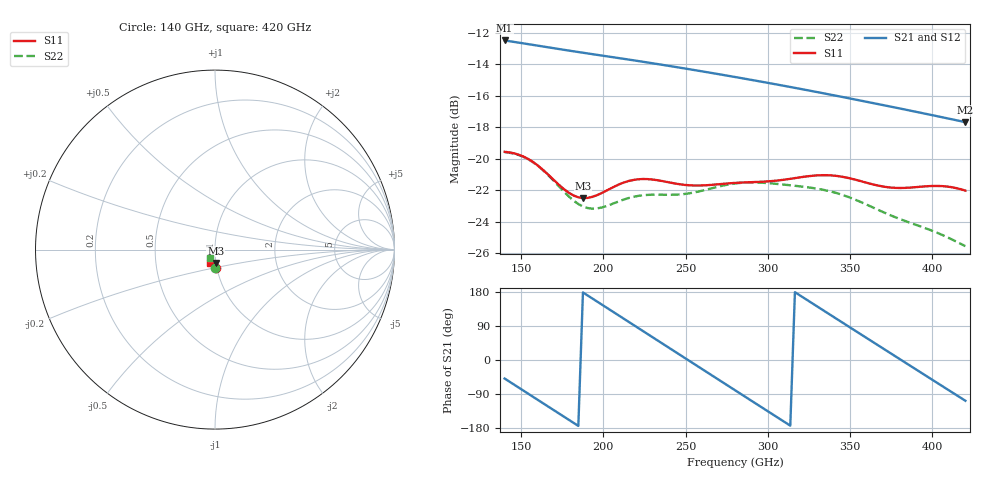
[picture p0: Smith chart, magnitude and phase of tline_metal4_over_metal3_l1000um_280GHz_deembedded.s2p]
! Created with skrf 2.0.1 (http://scikit-rf.org).
# GHz S DB R 50.0
!freq dBS11 angS11 dBS21 angS21 dBS12 angS12 dBS22 angS22
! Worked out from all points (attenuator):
!   101 points, 140 GHz to 420 GHz, reference 50 ohm
!   highest |S21| = -12.49 dB at 140 GHz (marker M1); lowest = -17.7 dB at 420 GHz (marker M2)
!   lowest |S11| = -22.5 dB at 187.6 GHz (marker M3), VSWR 1.16, Z = 49.8 - j7.52 ohm
!   |S11| at or under -10 dB: start of sweep to end of sweep
!   |S22| runs from -25.5 to -19.6 dB; largest |S21 - S12| = 2.2e-13
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140  -19.55 -86.1  -12.49 -48.9  -12.49 -48.9  -19.57 -89.3
151.2  -19.84 -89.6  -12.67 -80.2  -12.67 -80.2  -19.86 -93.2
162.4  -20.62 -93.1  -12.85 -111.4  -12.85 -111.4  -20.63 -97.6
176.4  -21.95 -92.3  -13.09 -150.5  -13.09 -150.5  -22.11 -98.8
187.6  -22.49 -86.9  -13.27 178.3  -13.27 178.3  -23.02 -94.4
198.8  -22.18 -82.4  -13.44 147.0  -13.44 147.0  -23.09 -89.0
212.8  -21.49 -82.9  -13.66 107.9  -13.66 107.9  -22.57 -87.1
224  -21.28 -85.9  -13.84 76.6  -13.84 76.6  -22.31 -88.5
235.2  -21.40 -88.6  -14.02 45.3  -14.02 45.3  -22.28 -90.1
254.8  -21.69 -89.8  -14.36 -9.4  -14.36 -9.4  -22.14 -91.2
268.8  -21.62 -90.2  -14.60 -48.5  -14.60 -48.5  -21.79 -93.1
280  -21.53 -91.2  -14.80 -79.7  -14.80 -79.7  -21.56 -96.2
291.2  -21.47 -92.4  -15.01 -110.9  -15.01 -110.9  -21.49 -99.8
305.2  -21.38 -93.7  -15.28 -149.9  -15.28 -149.9  -21.59 -104.0
316.4  -21.22 -95.0  -15.49 179.0  -15.49 179.0  -21.71 -107.1
327.6  -21.07 -97.3  -15.72 147.8  -15.72 147.8  -21.85 -110.3
338.8  -21.05 -100.4  -15.94 116.8  -15.94 116.8  -22.09 -113.7
350  -21.24 -103.2  -16.17 85.7  -16.17 85.7  -22.46 -116.9
375.2  -21.82 -105.1  -16.70 16.0  -16.70 16.0  -23.61 -120.6
386.4  -21.82 -105.1  -16.94 -15.0  -16.94 -15.0  -24.05 -120.9
400.4  -21.72 -106.9  -17.24 -53.6  -17.24 -53.6  -24.58 -121.2
420  -22.01 -111.4  -17.67 -107.6  -17.67 -107.6  -25.54 -119.7
